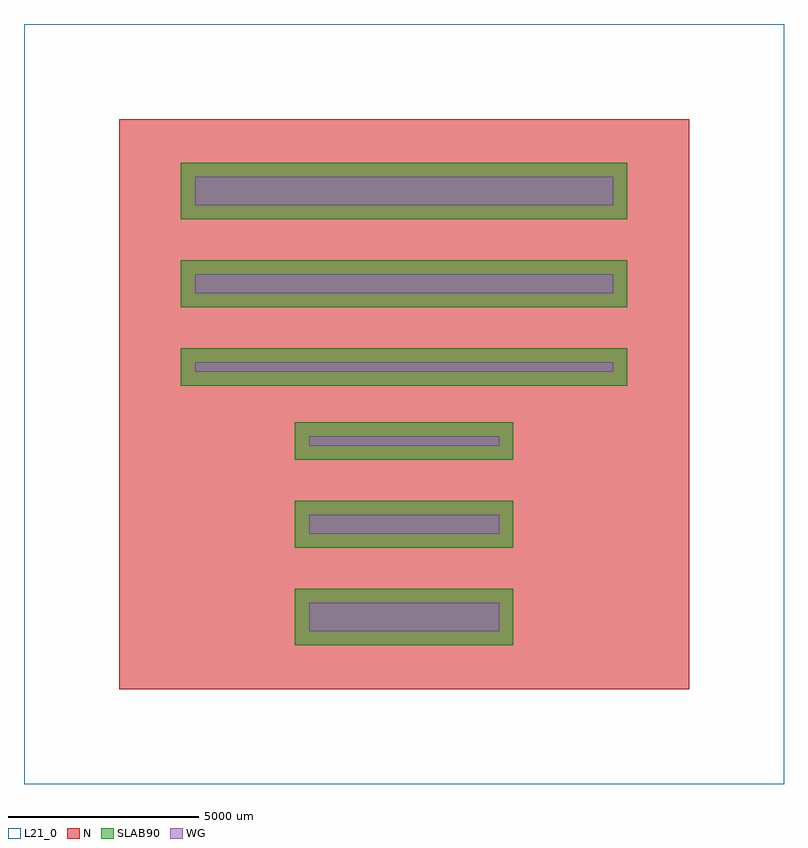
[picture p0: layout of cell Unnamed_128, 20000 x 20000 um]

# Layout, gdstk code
import gdstk
lib = gdstk.Library(unit=1e-6, precision=1e-09)
def R(c, l, rs):  # rectangles x0, y0, x1, y1
    for r in rs: c.add(gdstk.rectangle(r[:2], r[2:], *l))
WG = (1, 0)
SLAB90 = (3, 0)
N = (20, 0)
L21_0 = (21, 0)

rectangle_s5742p34_1242_ = lib.new_cell('rectangle_S5742p34_1242_2bd35dbd')
R(rectangle_s5742p34_1242_, SLAB90, [(0,0,5742.34,1242.34)])

rectangle_s5000_500_l1__ = lib.new_cell('rectangle_S5000_500_L1__8483366d')
R(rectangle_s5000_500_l1__, WG, [(0,0,5000,500)])

rectangle_s11000_750_l1_ = lib.new_cell('rectangle_S11000_750_L1_4aeca8e6')
R(rectangle_s11000_750_l1_, WG, [(0,0,11000,750)])

rectangle_s5742p34_1492_ = lib.new_cell('rectangle_S5742p34_1492_f440b0a2')
R(rectangle_s5742p34_1492_, SLAB90, [(0,0,5742.34,1492.34)])

rectangle_s11742p34_124_ = lib.new_cell('rectangle_S11742p34_124_35634cfc')
R(rectangle_s11742p34_124_, SLAB90, [(0,0,11742.34,1242.34)])

rectangle_s5000_750_l1__ = lib.new_cell('rectangle_S5000_750_L1__f420b260')
R(rectangle_s5000_750_l1__, WG, [(0,0,5000,750)])

rectangle_s11000_500_l1_ = lib.new_cell('rectangle_S11000_500_L1_e8eac09b')
R(rectangle_s11000_500_l1_, WG, [(0,0,11000,500)])

rectangle_s20000_20000__ = lib.new_cell('rectangle_S20000_20000__aa48e1ac')
R(rectangle_s20000_20000__, L21_0, [(0,0,20000,20000)])

rectangle_s11742p34_149_ = lib.new_cell('rectangle_S11742p34_149_befed679')
R(rectangle_s11742p34_149_, SLAB90, [(0,0,11742.34,1492.34)])

rectangle_s5000_250_l1__ = lib.new_cell('rectangle_S5000_250_L1__f0290e42')
R(rectangle_s5000_250_l1__, WG, [(0,0,5000,250)])

rectangle_s11000_250_l1_ = lib.new_cell('rectangle_S11000_250_L1_35af61c5')
R(rectangle_s11000_250_l1_, WG, [(0,0,11000,250)])

rectangle_s5742p34_992p_ = lib.new_cell('rectangle_S5742p34_992p_251aa5d3')
R(rectangle_s5742p34_992p_, SLAB90, [(0,0,5742.34,992.34)])

rectangle_s11742p34_992_ = lib.new_cell('rectangle_S11742p34_992_5e8ff1e2')
R(rectangle_s11742p34_992_, SLAB90, [(0,0,11742.34,992.34)])

rectangle_s15000_15000__ = lib.new_cell('rectangle_S15000_15000__6a6c2047')
R(rectangle_s15000_15000__, N, [(0,0,15000,15000)])

unnamed_128 = lib.new_cell('Unnamed_128')
unnamed_128.add(gdstk.Reference(rectangle_s5742p34_1242_, (-2871.17,-3784.68)))
unnamed_128.add(gdstk.Reference(rectangle_s5000_500_l1__, (-2500,-3413.51)))
unnamed_128.add(gdstk.Reference(rectangle_s11000_750_l1_, (-5500,5230.85)))
unnamed_128.add(gdstk.Reference(rectangle_s5742p34_1492_, (-2871.17,-6352.02)))
unnamed_128.add(gdstk.Reference(rectangle_s11742p34_124_, (-5871.17,2542.34)))
unnamed_128.add(gdstk.Reference(rectangle_s5000_750_l1__, (-2500,-5980.85)))
unnamed_128.add(gdstk.Reference(rectangle_s11000_500_l1_, (-5500,2913.51)))
unnamed_128.add(gdstk.Reference(rectangle_s20000_20000__, (-10000,-10000)))
unnamed_128.add(gdstk.Reference(rectangle_s11742p34_149_, (-5871.17,4859.68)))
unnamed_128.add(gdstk.Reference(rectangle_s5000_250_l1__, (-2500,-1096.17)))
unnamed_128.add(gdstk.Reference(rectangle_s11000_250_l1_, (-5500,846.17)))
unnamed_128.add(gdstk.Reference(rectangle_s5742p34_992p_, (-2871.17,-1467.34)))
unnamed_128.add(gdstk.Reference(rectangle_s11742p34_992_, (-5871.17,475)))
unnamed_128.add(gdstk.Reference(rectangle_s15000_15000__, (-7500,-7500)))

lib.write_gds('Unnamed_128.gds')
